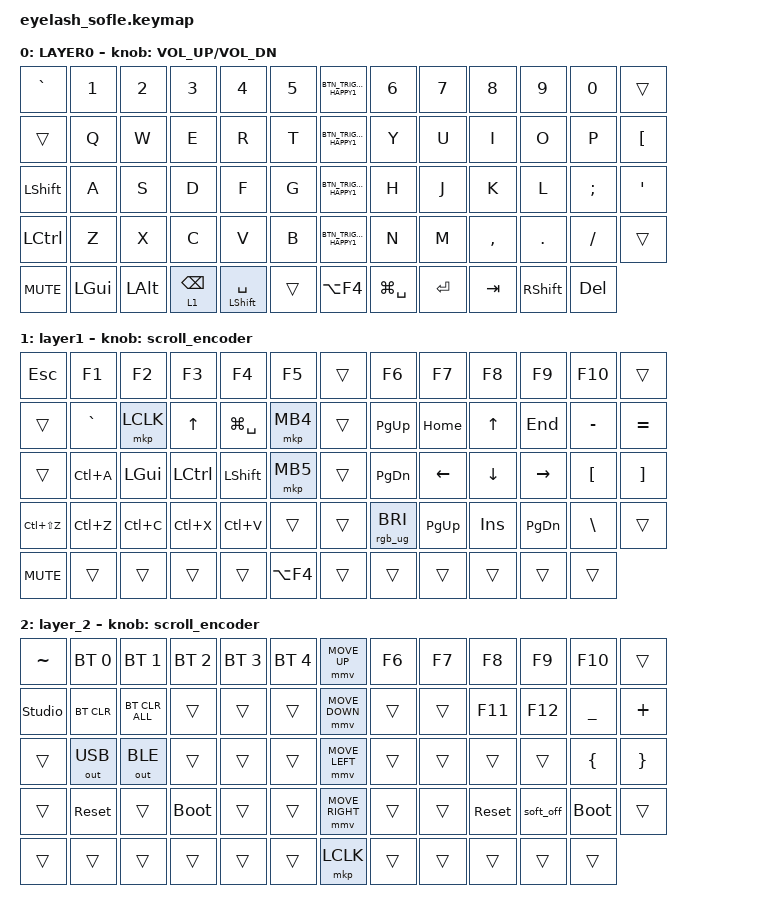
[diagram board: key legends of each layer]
#include <behaviors.dtsi>
#include <dt-bindings/zmk/bt.h>
#include <dt-bindings/zmk/keys.h>
#include <dt-bindings/zmk/mouse.h>
#include <dt-bindings/zmk/outputs.h>
#include <dt-bindings/zmk/rgb.h>

#include <input/processors.dtsi>

/*

   &mmv_input_listener {
       input-processors = <&zip_xy_scaler 2 1>;
   };

   &msc_input_listener {
       input-processors = <&zip_xy_scaler 2 1>;
   };

 */

#define ZMK_MOUSE_DEFAULT_MOVE_VAL 1200  // 600
#define ZMK_MOUSE_DEFAULT_SCRL_VAL 20    // 10


/ {
    behaviors {
        mmv {
            acceleration-exponent = <1>;      // 1
            time-to-max-speed-ms = <900>;    // 40
            delay-ms = <0>;                   // 0
        };

        msc {
            acceleration-exponent = <1>;      // 0
            time-to-max-speed-ms = <400>;      // 500
            delay-ms = <0>;                   //   10
        };

        shift_space: shift_space {
            compatible = "zmk,behavior-hold-tap";
            #binding-cells = <2>;
            tapping-term-ms = <200>;
            flavor = "balanced";
            bindings = <&kp>, <&kp>;
        };

        layer_two_backspace: layer_two_backspace {
            compatible = "zmk,behavior-hold-tap";
            #binding-cells = <2>;
            tapping-term-ms = <200>;
            flavor = "balanced";
            bindings = <&mo &kp>;
        };
    };

    scroll_encoder: scroll_encoder {
        compatible = "zmk,behavior-sensor-rotate";
        #sensor-binding-cells = <0>;
        bindings = <&msc SCRL_DOWN>, <&msc SCRL_UP>;

        tap-ms = <30>;
    };

    keymap {
        compatible = "zmk,keymap";

        layer0 {
            bindings = <
&kp GRAVE     &kp N1     &kp N2        &kp N3        &kp N4  &kp N5       &kp C_BTN_TRIGGER_HAPPY1     &kp N6     &kp N7     &kp N8     &kp N9           &kp N0      &trans
&trans    &kp Q      &kp W         &kp E         &kp R   &kp T        &kp C_BTN_TRIGGER_HAPPY1   &kp Y      &kp U      &kp I      &kp O            &kp P       &kp LEFT_BRACKET
&kp LSHFT    &kp A      &kp S         &kp D         &kp F   &kp G        &kp C_BTN_TRIGGER_HAPPY1   &kp H      &kp J      &kp K      &kp L            &kp SEMI    &kp APOS
&kp LCTRL   &kp Z      &kp X         &kp C         &kp V   &kp B        &kp C_BTN_TRIGGER_HAPPY1  &kp N      &kp M      &kp COMMA  &kp DOT          &kp FSLH    &trans
&kp C_MUTE  &kp LEFT_GUI  &kp LALT  &layer_two_backspace 1 BACKSPACE   &shift_space LSHIFT SPACE  &trans    &kp LA(F4)  &kp LG(SPACE)  &kp ENTER  &kp TAB      &kp RIGHT_SHIFT  &kp DELETE
            >;

            sensor-bindings = <&inc_dec_kp C_VOLUME_UP C_VOL_DN>;
            display-name = "LAYER0";
        };

        layer_1 {
            bindings = <
&kp ESC   &kp F1           &kp F2          &kp F3           &kp F4           &kp F5             &trans     &kp F6           &kp F7           &kp F8      &kp F9     &kp F10           &trans
&trans      &kp GRAVE        &mkp LCLK       &kp UP_ARROW     &kp LG(SPACE)        &mkp MB4           &trans   &kp PG_UP        &kp HOME         &kp UP      &kp END   &kp MINUS         &kp EQUAL
&trans      &kp LC(A)     &kp LEFT_GUI      &kp LCTRL        &kp LSHFT        &mkp MB5           &trans   &kp PG_DN        &kp LEFT         &kp DOWN    &kp RIGHT  &kp LEFT_BRACKET  &kp RIGHT_BRACKET
&kp LC(LS(Z)) &kp LC(Z)     &kp LC(C)       &kp LC(X)       &kp LC(V)         &trans             &trans  &rgb_ug RGB_BRI  &kp PG_UP         &kp INSERT  &kp PG_DN    &kp BACKSLASH           &trans
&kp C_MUTE  &trans           &trans          &trans          &trans           &kp LA(F4)            &trans        &trans           &trans           &trans      &trans     &trans
            >;
 
            display-name = "layer1";
            sensor-bindings = <&scroll_encoder>;
        };

        layer_2 {
            bindings = <
&kp TILDE  &bt BT_SEL 0  &bt BT_SEL 1    &bt BT_SEL 2  &bt BT_SEL 3  &bt BT_SEL 4    &mmv MOVE_UP     &kp F6  &kp F7  &kp F8      &kp F9     &kp F10      &trans
&studio_unlock      &bt BT_CLR    &bt BT_CLR_ALL  &trans        &trans        &trans          &mmv MOVE_DOWN   &trans  &trans  &kp F11     &kp F12    &kp UNDER    &kp PLUS
&trans     &out OUT_USB  &out OUT_BLE    &trans        &trans        &trans          &mmv MOVE_LEFT   &trans  &trans  &trans      &trans     &kp LBRC     &kp RBRC
&trans     &sys_reset    &trans          &bootloader   &trans        &trans          &mmv MOVE_RIGHT  &trans  &trans  &sys_reset  &soft_off  &bootloader  &trans
&trans     &trans        &trans          &trans        &trans        &trans          &mkp LCLK        &trans  &trans  &trans      &trans     &trans
            >;

            sensor-bindings = <&scroll_encoder>;
        };
    };

    combos {
        compatible = "zmk,combos";

        combo_alt_f4 {
            bindings = <&kp LA(F4)>;
            key-positions = <55 4>;
            layers = <0>;
            timeout-ms = <80>;
        };
    };

   conditional_layers {
       compatible = "zmk,conditional-layers";
   
       host_dev {
           if-layers = <0>;
           then-layer = <1>;
           keycode = <205>;
       };
   
       host_browser {
           if-layers = <0>;
           then-layer = <2>;
           keycode = <206>;
       };
   
       host_media {
           if-layers = <0>;
           then-layer = <3>;
           keycode = <207>;
       };
   };
};
